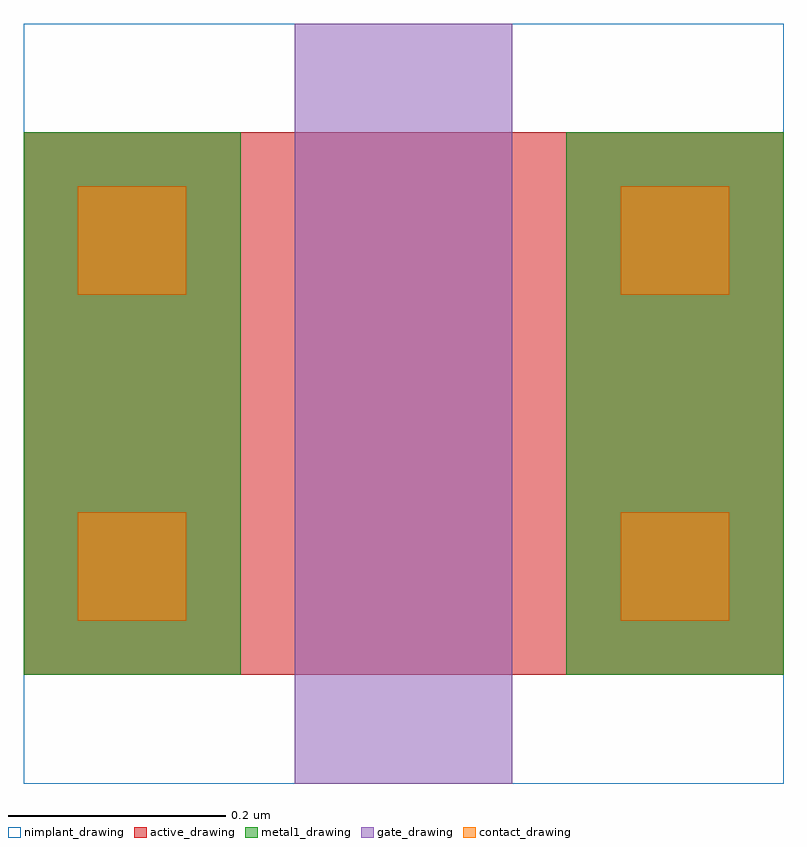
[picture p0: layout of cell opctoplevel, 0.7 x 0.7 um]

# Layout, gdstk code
import gdstk
lib = gdstk.Library(unit=1e-6, precision=1e-09)
def R(c, l, rs):  # rectangles x0, y0, x1, y1
    for r in rs: c.add(gdstk.rectangle(r[:2], r[2:], *l))
active_drawing = (1, 0)
nimplant_drawing = (5, 0)
gate_drawing = (6, 0)
contact_drawing = (7, 0)
metal1_drawing = (8, 0)

opctoplevel = lib.new_cell('opctoplevel')
R(opctoplevel, active_drawing, [(0,0,0.7,0.5)])
R(opctoplevel, nimplant_drawing, [(0,-0.1,0.7,0.6)])
R(opctoplevel, gate_drawing, [(0.25,-0.1,0.45,0.6)])
R(opctoplevel, contact_drawing, [(0.05,0.05,0.15,0.15), (0.55,0.05,0.65,0.15), (0.05,0.35,0.15,0.45), (0.55,0.35,0.65,0.45)])
R(opctoplevel, metal1_drawing, [(0,0,0.2,0.5), (0.5,0,0.7,0.5)])

lib.write_gds('opctoplevel.gds')
